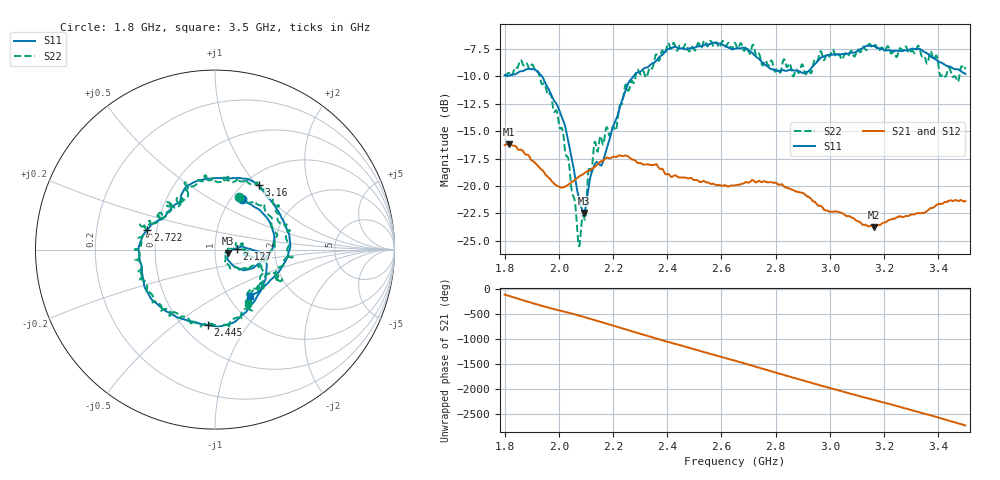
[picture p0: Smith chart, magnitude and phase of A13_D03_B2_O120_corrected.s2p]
! Created with skrf 1.9.0 (http://scikit-rf.org).
# Hz S RI R 50.0
!freq ReS11 ImS11 ReS21 ImS21 ReS12 ImS12 ReS22 ImS22
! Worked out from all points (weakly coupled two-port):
!   1601 points, 1.8 GHz to 3.5 GHz, reference 50 ohm
!   highest |S21| = -16.17 dB at 1.817 GHz (marker M1); lowest = -23.7 dB at 3.163 GHz (marker M2)
!   lowest |S11| = -22.4 dB at 2.092 GHz (marker M3), VSWR 1.16, Z = 57.7 - j2.49 ohm
!   |S11| at or under -10 dB: 1.937 GHz to 2.276 GHz (338.8 MHz wide, 16.1 % of centre)
!   |S22| runs from -25.5 to -6.8 dB; largest |S21 - S12| = 0.0027
!   S11 on the Smith chart (normalised r, x): 1.8 GHz: 1.13, +0.70; 2.127 GHz: 1.27, +0.01; 2.445 GHz: 0.65, -0.67; 2.722 GHz: 0.44, +0.11; 3.16 GHz: 1.16, +1.02; 3.5 GHz: 1.26, -0.72
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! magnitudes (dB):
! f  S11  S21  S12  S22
! 1.8 GHz  -9.9  -16.3  -16.3  -9.9
! 1.817 GHz  -10.0  -16.2  -16.2  -9.7
! 1.903 GHz  -9.4  -17.7  -17.7  -9.0
! 1.968 GHz  -11.5  -19.4  -19.4  -11.6
! 2.015 GHz  -13.9  -20.1  -20.1  -15.0
! 2.072 GHz  -20.9  -19.2  -19.2  -25.2
! 2.084 GHz  -22.0  -19.0  -19.0  -23.4
! 2.092 GHz  -22.4  -18.9  -18.9  -22.8
! 2.127 GHz  -18.4  -18.4  -18.4  -16.9
! 2.162 GHz  -17.8  -17.7  -17.6  -16.2
! 2.26 GHz  -10.5  -17.4  -17.4  -11.2
! 2.367 GHz  -8.4  -18.3  -18.2  -8.6
! 2.445 GHz  -7.5  -19.2  -19.2  -7.2
! 2.65 GHz  -7.5  -19.9  -19.9  -7.0
! 2.722 GHz  -8.1  -19.6  -19.5  -7.6
! 2.934 GHz  -9.2  -21.3  -21.3  -9.6
! 3.16 GHz  -7.2  -23.7  -23.6  -7.4
! 3.163 GHz  -7.3  -23.7  -23.7  -7.3
! 3.217 GHz  -7.6  -23.1  -23.1  -7.4
! 3.327 GHz  -7.5  -22.5  -22.4  -7.2
! 3.468 GHz  -9.4  -21.3  -21.3  -10.4
! 3.5 GHz  -9.8  -21.4  -21.4  -9.2
